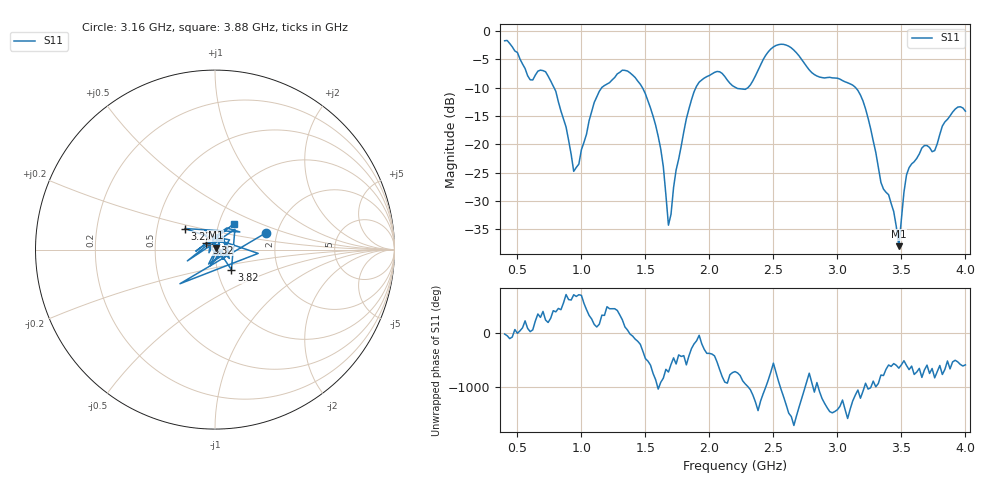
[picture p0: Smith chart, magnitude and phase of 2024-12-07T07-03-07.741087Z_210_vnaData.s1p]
!Created with skrf (http://scikit-rf.org).
# Hz S RI R 50.0
!freq ReS11 ImS11
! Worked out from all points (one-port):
!   181 points, 400 MHz to 4 GHz, reference 50 ohm
!   lowest |S11| = -38.0 dB at 3.48 GHz (marker M1), VSWR 1.03, Z = 50.5 + j1.18 ohm
!   |S11| at or under -10 dB: 786.3 MHz to 1.158 GHz (372.1 MHz wide, 38.3 % of centre); 1.477 GHz to 1.894 GHz (417.7 MHz wide, 24.8 % of centre); 3.143 GHz to end of sweep (the widest 3 of 4)
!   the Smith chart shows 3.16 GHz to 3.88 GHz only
!   S11 on the Smith chart (normalised r, x): 3.16 GHz: 1.75, +0.36; 3.22 GHz: 0.69, +0.17; 3.32 GHz: 0.90, +0.07; 3.82 GHz: 1.17, -0.27; 3.88 GHz: 1.18, +0.35
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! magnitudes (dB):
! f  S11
! 400 MHz  -1.7
! 600 MHz  -8.6
! 720 MHz  -7.2
! 860 MHz  -15.5
! 940 MHz  -24.8
! 1.14 GHz  -10.6
! 1.3 GHz  -7.3
! 1.54 GHz  -13.6
! 1.62 GHz  -20.8
! 1.68 GHz  -34.3
! 1.76 GHz  -22.6
! 1.92 GHz  -9.0
! 2.2 GHz  -9.9
! 2.3 GHz  -10.0
! 2.5 GHz  -2.8
! 2.66 GHz  -3.4
! 3.1 GHz  -9.3
! 3.16 GHz  -10.5
! 3.22 GHz  -13.7
! 3.32 GHz  -24.1
! 3.44 GHz  -31.9
! 3.48 GHz  -38.0
! 3.52 GHz  -28.5
! 3.56 GHz  -24.1
! 3.76 GHz  -21.1
! 3.82 GHz  -16.8
! 3.88 GHz  -15.0
! 4 GHz  -14.1
